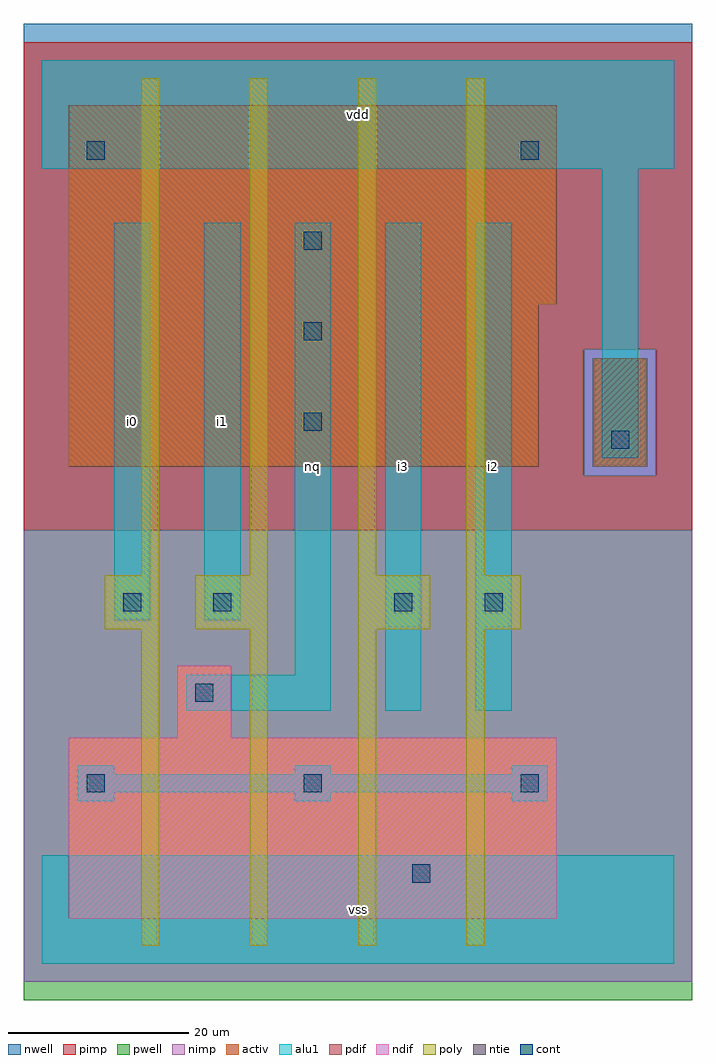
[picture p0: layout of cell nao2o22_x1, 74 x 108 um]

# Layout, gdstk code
import gdstk
lib = gdstk.Library(unit=1e-6, precision=1e-09)
def R(c, l, rs):  # rectangles x0, y0, x1, y1
    for r in rs: c.add(gdstk.rectangle(r[:2], r[2:], *l))
def A(c, l, x, y, w, h, nx, ny, dx, dy):  # array of equal rectangles
    R(c, l, [(x+i*dx, y+j*dy, x+i*dx+w, y+j*dy+h) for i in range(nx) for j in range(ny)])
ndif = (3, 0)
pdif = (4, 0)
ntie = (5, 0)
cont = (25, 0)
pwell = (41, 0)
nwell = (42, 0)
activ = (43, 0)
pimp = (44, 0)
nimp = (45, 0)
poly = (46, 0)
alu1 = (49, 0)

nao2o22_x1 = lib.new_cell('nao2o22_x1')
R(nao2o22_x1, ndif, [(3,5,57,25), (15,25,21,33)])
R(nao2o22_x1, pdif, [(3,55,55,73), (3,73,57,95)])
R(nao2o22_x1, ntie, [(61,55,67,67)])
A(nao2o22_x1, cont, 5, 19, 2, 2, 3, 1, 24, 0)
A(nao2o22_x1, cont, 29, 59, 2, 2, 1, 3, 0, 10)
R(nao2o22_x1, cont, [(41,9,43,11), (17,29,19,31), (9,39,11,41), (19,39,21,41), (39,39,41,41), (49,39,51,41), (63,57,65,59), (5,89,7,91), (53,89,55,91)])
R(nao2o22_x1, pwell, [(-2,-4,72,48)])
R(nao2o22_x1, nwell, [(-2,48,72,104)])
R(nao2o22_x1, activ, [(3,5,57,25), (15,25,21,33), (3,55,55,73), (61,55,67,67), (3,73,57,95)])
R(nao2o22_x1, pimp, [(-2,48,72,54), (-2,54,60,68), (68,54,72,68), (-2,68,72,102)])
R(nao2o22_x1, nimp, [(-2,-2,72,48), (60,54,68,68)])
A(nao2o22_x1, poly, 11, 2, 2, 35, 4, 1, 12, 0)
A(nao2o22_x1, poly, 11, 43, 2, 55, 4, 1, 12, 0)
R(nao2o22_x1, poly, [(7,37,13,43), (17,37,25,43), (35,37,43,43), (47,37,53,43)])
A(nao2o22_x1, alu1, 4, 18, 4, 1, 3, 2, 24, 3)
R(nao2o22_x1, alu1, [(0,0,70,12), (4,19,56,21), (16,28,32,32), (38,28,42,82), (48,28,52,82), (28,32,32,82), (8,38,12,82), (18,38,22,82), (62,56,66,88), (0,88,70,100)])
nao2o22_x1.add(gdstk.Label('i0', (10,60), layer=49, texttype=0))
nao2o22_x1.add(gdstk.Label('nq', (30,55), layer=49, texttype=0))
nao2o22_x1.add(gdstk.Label('i1', (20,60), layer=49, texttype=0))
nao2o22_x1.add(gdstk.Label('vss', (35,6), layer=49, texttype=0))
nao2o22_x1.add(gdstk.Label('i2', (50,55), layer=49, texttype=0))
nao2o22_x1.add(gdstk.Label('i3', (40,55), layer=49, texttype=0))
nao2o22_x1.add(gdstk.Label('vdd', (35,94), layer=49, texttype=0))

lib.write_gds('nao2o22_x1.gds')
